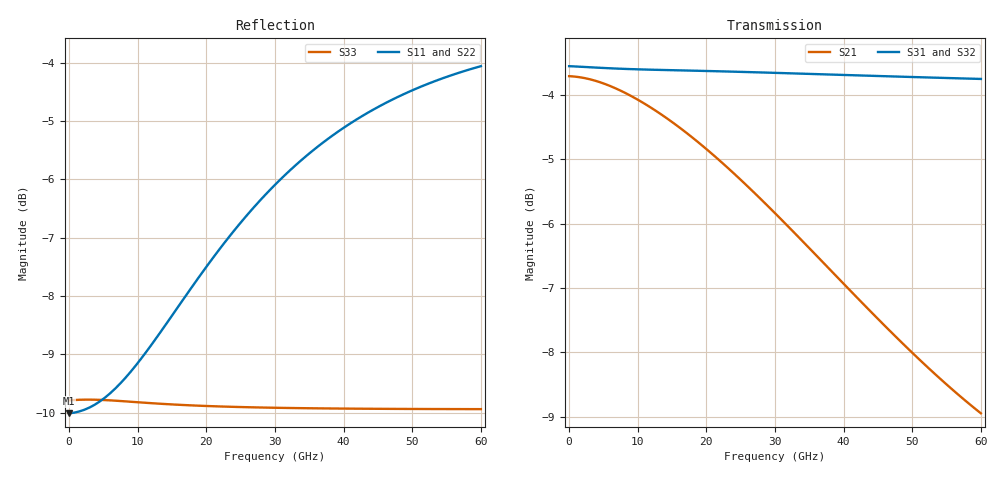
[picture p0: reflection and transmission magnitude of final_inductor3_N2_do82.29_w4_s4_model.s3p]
!Center-tapped inductor model fitted by inductor_fit.py 1.2 from final_inductor3_N2_do82.29_w4_s4.s3p
! Created with skrf 2.1.0 (http://scikit-rf.org).
# GHz S RI R 50.0
!freq ReS11 ImS11 ReS12 ImS12 ReS13 ImS13
! ReS21 ImS21 ReS22 ImS22 ReS23 ImS23
! ReS31 ImS31 ReS32 ImS32 ReS33 ImS33
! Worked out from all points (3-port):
!   82 points, 10 MHz to 60 GHz, reference 50 ohm
!   strongest paths, dB at 10 MHz, 14.25 GHz, 30 GHz, 45 GHz, 60 GHz:
!     S31: -3.6, -3.6, -3.7, -3.7, -3.8
!     S32: -3.6, -3.7, -3.7, -3.7, -3.8
!     S21: -3.7, -4.4, -5.8, -7.5, -8.9
!   lowest |S11| = -10.0 dB at 10 MHz (marker M1), VSWR 1.92, Z = 26 + j0.0161 ohm
!   |S11| at or under -10 dB: start of sweep to 557.7 MHz
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0.01  -0.3159 0.000279  0.6521 -0.000293  0.6638 -5.38e-05
      0.6521 -0.000293  -0.3123 0.000277  0.6602 -5.26e-05
      0.6638 -5.38e-05  0.6602 -5.26e-05  -0.3241 3.77e-05
6.75  -0.2766 0.1833  0.6112 -0.1834  0.6604 -0.0299
      0.6112 -0.1834  -0.2734 0.1834  0.6575 -0.0301
      0.6604 -0.0299  0.6575 -0.0301  -0.3225 0.0298
11.25  -0.2153 0.2844  0.5506 -0.2843  0.6581 -0.0481
       0.5506 -0.2843  -0.2115 0.2849  0.655 -0.049
       0.6581 -0.0481  0.655 -0.049  -0.3188 0.0486
15.75  -0.137 0.3638  0.4731 -0.3638  0.6556 -0.0661
       0.4731 -0.3638  -0.1322 0.3641  0.652 -0.0672
       0.6556 -0.0661  0.652 -0.0672  -0.3144 0.0663
23.25  0.0127 0.4467  0.325 -0.4471  0.6504 -0.096
       0.325 -0.4471  0.0188 0.4455  0.6464 -0.0968
       0.6504 -0.096  0.6464 -0.0968  -0.3058 0.0945
30.75  0.1643 0.4731  0.1757 -0.4744  0.6437 -0.1254
       0.1757 -0.4744  0.1708 0.4701  0.64 -0.126
       0.6437 -0.1254  0.64 -0.126  -0.2954 0.1214
37.5  0.2878 0.4588  0.0545 -0.4614  0.6364 -0.1511
      0.0545 -0.4614  0.2944 0.4543  0.633 -0.1521
      0.6364 -0.1511  0.633 -0.1521  -0.2844 0.1445
45  0.4033 0.4139  -0.0581 -0.4187  0.6273 -0.179
    -0.0581 -0.4187  0.4098 0.408  0.6239 -0.1807
    0.6273 -0.179  0.6239 -0.1807  -0.2704 0.1687
52.5  0.4941 0.3503  -0.146 -0.3579  0.617 -0.2062
      -0.146 -0.3579  0.5005 0.3429  0.6133 -0.2086
      0.617 -0.2062  0.6133 -0.2086  -0.2548 0.1912
60  0.5618 0.2771  -0.2108 -0.2882  0.6057 -0.2327
    -0.2108 -0.2882  0.568 0.2682  0.6014 -0.2358
    0.6057 -0.2327  0.6014 -0.2358  -0.2378 0.2119
